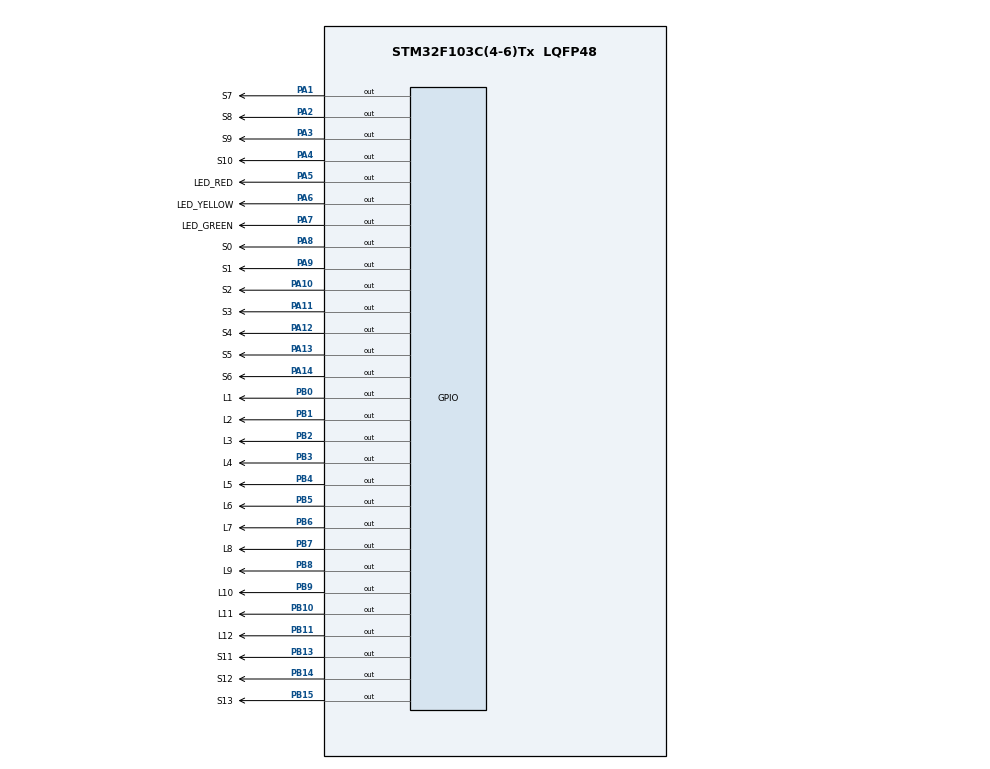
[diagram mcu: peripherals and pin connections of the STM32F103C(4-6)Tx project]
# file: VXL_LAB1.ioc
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Mcu.Family=STM32F1
Mcu.Name=STM32F103C(4-6)Tx
Mcu.Package=LQFP48
NVIC.PriorityGroup=NVIC_PRIORITYGROUP_4
PA1.GPIO_Label=S7
PA1.Signal=GPIO_Output
PA10.GPIO_Label=S2
PA10.Signal=GPIO_Output
PA11.GPIO_Label=S3
PA11.Signal=GPIO_Output
PA12.GPIO_Label=S4
PA12.Signal=GPIO_Output
PA13.GPIO_Label=S5
PA13.Signal=GPIO_Output
PA14.GPIO_Label=S6
PA14.Signal=GPIO_Output
PA2.GPIO_Label=S8
PA2.Signal=GPIO_Output
PA3.GPIO_Label=S9
PA3.Signal=GPIO_Output
PA4.GPIO_Label=S10
PA4.Signal=GPIO_Output
PA5.GPIO_Label=LED_RED
PA5.Signal=GPIO_Output
PA6.GPIO_Label=LED_YELLOW
PA6.Signal=GPIO_Output
PA7.GPIO_Label=LED_GREEN
PA7.Signal=GPIO_Output
PA8.GPIO_Label=S0
PA8.Signal=GPIO_Output
PA9.GPIO_Label=S1
PA9.Signal=GPIO_Output
PB0.GPIO_Label=L1
PB0.Signal=GPIO_Output
PB1.GPIO_Label=L2
PB1.Signal=GPIO_Output
PB10.GPIO_Label=L11
PB10.Signal=GPIO_Output
PB11.GPIO_Label=L12
PB11.Signal=GPIO_Output
PB13.GPIO_Label=S11
PB13.Signal=GPIO_Output
PB14.GPIO_Label=S12
PB14.Signal=GPIO_Output
PB15.GPIO_Label=S13
PB15.Signal=GPIO_Output
PB2.GPIO_Label=L3
PB2.Signal=GPIO_Output
PB3.GPIO_Label=L4
PB3.Signal=GPIO_Output
PB4.GPIO_Label=L5
PB4.Signal=GPIO_Output
PB5.GPIO_Label=L6
PB5.Signal=GPIO_Output
PB6.GPIO_Label=L7
PB6.Signal=GPIO_Output
PB7.GPIO_Label=L8
PB7.Signal=GPIO_Output
PB8.GPIO_Label=L9
PB8.Signal=GPIO_Output
PB9.GPIO_Label=L10
PB9.Signal=GPIO_Output
ProjectManager.HeapSize=0x200
ProjectManager.StackSize=0x400
ProjectManager.TargetToolchain=STM32CubeIDE
RCC.APB1Freq_Value=8000000
RCC.APB2Freq_Value=8000000
VP_SYS_VS_ND.Mode=No_Debug
board=custom

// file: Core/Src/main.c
/* USER CODE BEGIN Header */
/**
  ******************************************************************************
  * @file           : main.c
  * @brief          : Main program body
  ******************************************************************************
  * @attention
  *
  * <h2><center>&copy; Copyright (c) 2024 STMicroelectronics.
  * All rights reserved.</center></h2>
  *
  * This software component is licensed by ST under BSD 3-Clause license,
  * the "License"; You may not use this file except in compliance with the
  * License. You may obtain a copy of the License at:
  *                        opensource.org/licenses/BSD-3-Clause
  *
  ******************************************************************************
  */
/* USER CODE END Header */
#include "main.h"

void SystemClock_Config(void);
static void MX_GPIO_Init(void);

/* USER CODE BEGIN 0 */
void  display7SEG(int num){
	int SMap[10] = {
	        0b00111111, // 0
	        0b00000110, // 1
	        0b01011011, // 2
	        0b01001111, // 3
	        0b01100110, // 4
	        0b01101101, // 5
	        0b01111101, // 6
	        0b00000111, // 7
	        0b01111111, // 8
	        0b01101111  // 9
	    };
	    if (num < 0 || num > 9) {
	        return;
	    }
	    int segments = SMap[num];
	    HAL_GPIO_WritePin(S0_GPIO_Port, S0_Pin, (segments & 0b00000001) ? GPIO_PIN_RESET : GPIO_PIN_SET);
	    HAL_GPIO_WritePin(S1_GPIO_Port, S1_Pin, (segments & 0b00000010) ? GPIO_PIN_RESET : GPIO_PIN_SET);
	    HAL_GPIO_WritePin(S2_GPIO_Port, S2_Pin, (segments & 0b00000100) ? GPIO_PIN_RESET : GPIO_PIN_SET);
	    HAL_GPIO_WritePin(S3_GPIO_Port, S3_Pin, (segments & 0b00001000) ? GPIO_PIN_RESET : GPIO_PIN_SET);
	    HAL_GPIO_WritePin(S4_GPIO_Port, S4_Pin, (segments & 0b00010000) ? GPIO_PIN_RESET : GPIO_PIN_SET);
	    HAL_GPIO_WritePin(S5_GPIO_Port, S5_Pin, (segments & 0b00100000) ? GPIO_PIN_RESET : GPIO_PIN_SET);
	    HAL_GPIO_WritePin(S6_GPIO_Port, S6_Pin, (segments & 0b01000000) ? GPIO_PIN_RESET : GPIO_PIN_SET);
	}
void  display7SEG1(int num1){
	int SMap[10] = {
	        0b00111111, // 0
	        0b00000110, // 1
	        0b01011011, // 2
	        0b01001111, // 3
	        0b01100110, // 4
	        0b01101101, // 5
	        0b01111101, // 6
	        0b00000111, // 7
	        0b01111111, // 8
	        0b01101111  // 9
	    };
	    if (num1 < 0 || num1 > 9) {
	        return;
	    }
	    int segments = SMap[num1];
	    HAL_GPIO_WritePin(S7_GPIO_Port, S7_Pin, (segments & 0b00000001) ? GPIO_PIN_RESET : GPIO_PIN_SET);
	    HAL_GPIO_WritePin(S8_GPIO_Port, S8_Pin, (segments & 0b00000010) ? GPIO_PIN_RESET : GPIO_PIN_SET);
	    HAL_GPIO_WritePin(S9_GPIO_Port, S9_Pin, (segments & 0b00000100) ? GPIO_PIN_RESET : GPIO_PIN_SET);
	    HAL_GPIO_WritePin(S10_GPIO_Port, S10_Pin, (segments & 0b00001000) ? GPIO_PIN_RESET : GPIO_PIN_SET);
	    HAL_GPIO_WritePin(S11_GPIO_Port, S11_Pin, (segments & 0b00010000) ? GPIO_PIN_RESET : GPIO_PIN_SET);
	    HAL_GPIO_WritePin(S12_GPIO_Port, S12_Pin, (segments & 0b00100000) ? GPIO_PIN_RESET : GPIO_PIN_SET);
	    HAL_GPIO_WritePin(S13_GPIO_Port, S13_Pin, (segments & 0b01000000) ? GPIO_PIN_RESET : GPIO_PIN_SET);
	}
void clearAllClock(){
	HAL_GPIO_WritePin(L1_GPIO_Port, L1_Pin, GPIO_PIN_RESET);
	HAL_GPIO_WritePin(L2_GPIO_Port, L2_Pin, GPIO_PIN_RESET);
	HAL_GPIO_WritePin(L3_GPIO_Port, L3_Pin, GPIO_PIN_RESET);
	HAL_GPIO_WritePin(L4_GPIO_Port, L4_Pin, GPIO_PIN_RESET);
	HAL_GPIO_WritePin(L5_GPIO_Port, L5_Pin, GPIO_PIN_RESET);
	HAL_GPIO_WritePin(L6_GPIO_Port, L6_Pin, GPIO_PIN_RESET);
	HAL_GPIO_WritePin(L7_GPIO_Port, L7_Pin, GPIO_PIN_RESET);
	HAL_GPIO_WritePin(L8_GPIO_Port, L8_Pin, GPIO_PIN_RESET);
	HAL_GPIO_WritePin(L9_GPIO_Port, L9_Pin, GPIO_PIN_RESET);
	HAL_GPIO_WritePin(L10_GPIO_Port, L10_Pin, GPIO_PIN_RESET);
	HAL_GPIO_WritePin(L11_GPIO_Port, L11_Pin, GPIO_PIN_RESET);
	HAL_GPIO_WritePin(L12_GPIO_Port, L12_Pin, GPIO_PIN_RESET);
    }
void  setNumberOnClock(int num){
	switch (num){
	case 0:
		HAL_GPIO_WritePin(L12_GPIO_Port, L12_Pin, GPIO_PIN_SET);
		break;
	case 1:
		HAL_GPIO_WritePin(L1_GPIO_Port, L1_Pin, GPIO_PIN_SET);
		break;
	case 2:
		HAL_GPIO_WritePin(L2_GPIO_Port, L2_Pin, GPIO_PIN_SET);
				break;
	case 3:
		HAL_GPIO_WritePin(L3_GPIO_Port, L3_Pin, GPIO_PIN_SET);
				break;
	case 4:
		HAL_GPIO_WritePin(L4_GPIO_Port, L4_Pin, GPIO_PIN_SET);
				break;
	case 5:
		HAL_GPIO_WritePin(L5_GPIO_Port, L5_Pin, GPIO_PIN_SET);
				break;
	case 6:
		HAL_GPIO_WritePin(L6_GPIO_Port, L6_Pin, GPIO_PIN_SET);
				break;
	case 7:
		HAL_GPIO_WritePin(L7_GPIO_Port, L7_Pin, GPIO_PIN_SET);
				break;
	case 8:
		HAL_GPIO_WritePin(L8_GPIO_Port, L8_Pin, GPIO_PIN_SET);
				break;
	case 9:
		HAL_GPIO_WritePin(L9_GPIO_Port, L9_Pin, GPIO_PIN_SET);
				break;
	case 10:
		HAL_GPIO_WritePin(L10_GPIO_Port, L10_Pin, GPIO_PIN_SET);
				break;
	case 11:
		HAL_GPIO_WritePin(L11_GPIO_Port, L11_Pin, GPIO_PIN_SET);
				break;
	}
}
void clearNumberOnClock(int num){
	switch (num){
		case 0:
			HAL_GPIO_WritePin(L12_GPIO_Port, L12_Pin, GPIO_PIN_RESET);
			break;
		case 1:
			HAL_GPIO_WritePin(L1_GPIO_Port, L1_Pin, GPIO_PIN_RESET);
					break;
		case 2:
			HAL_GPIO_WritePin(L2_GPIO_Port, L2_Pin, GPIO_PIN_RESET);
					break;
		case 3:
			HAL_GPIO_WritePin(L3_GPIO_Port, L3_Pin, GPIO_PIN_RESET);
					break;
		case 4:
			HAL_GPIO_WritePin(L4_GPIO_Port, L4_Pin, GPIO_PIN_RESET);
					break;
		case 5:
			HAL_GPIO_WritePin(L5_GPIO_Port, L5_Pin, GPIO_PIN_RESET);
					break;
		case 6:
			HAL_GPIO_WritePin(L6_GPIO_Port, L6_Pin, GPIO_PIN_RESET);
					break;
		case 7:
			HAL_GPIO_WritePin(L7_GPIO_Port, L7_Pin, GPIO_PIN_RESET);
					break;
		case 8:
			HAL_GPIO_WritePin(L8_GPIO_Port, L8_Pin, GPIO_PIN_RESET);
					break;
		case 9:
			HAL_GPIO_WritePin(L9_GPIO_Port, L9_Pin, GPIO_PIN_RESET);
					break;
		case 10:
			HAL_GPIO_WritePin(L10_GPIO_Port, L10_Pin, GPIO_PIN_RESET);
					break;
		case 11:
			HAL_GPIO_WritePin(L11_GPIO_Port, L11_Pin, GPIO_PIN_RESET);
					break;
        }
}
/* USER CODE END 0 */

int main(void)
{

  /* MCU Configuration--------------------------------------------------------*/

  /* Reset of all peripherals, Initializes the Flash interface and the Systick. */
  HAL_Init();

  /* Configure the system clock */
  SystemClock_Config();

  /* Initialize all configured peripherals */
  MX_GPIO_Init();

  /* Infinite loop */
  /* USER CODE BEGIN WHILE */

  //int state = 0;
  //int lastTime = HAL_GetTick();
  //int cnt = 0;

     int hour = 0;
     int min = 0;
     int sec = 0;
     while (1)
      {
      sec++;
      if(hour > 0){
    	  clearNumberOnClock(hour-1);
      }
      if(min/5 > 0){
    	  if(hour != min/5 -1){
    	      clearNumberOnClock(min/5-1);
    	  }
      }
      if(sec/5 > 0){
    	  if(hour != sec/5 -1 || min/5 != sec/5-1){
    	      clearNumberOnClock(sec/5-1);
    	  }
      }
      if(sec >= 60){
        sec = 0;
        min++;
      }
      if(min >= 60){
        min = 0;
        hour++;
      }
      if(hour >= 12) hour = 0;
      setNumberOnClock(hour);
      setNumberOnClock(min/5);
      setNumberOnClock(sec/5);
      HAL_Delay(50);
    /* USER CODE END WHILE */

  }
}

void SystemClock_Config(void)
{
  RCC_OscInitTypeDef RCC_OscInitStruct = {0};
  RCC_ClkInitTypeDef RCC_ClkInitStruct = {0};

  /** Initializes the RCC Oscillators according to the specified parameters
  * in the RCC_OscInitTypeDef structure.
  */
  RCC_OscInitStruct.OscillatorType = RCC_OSCILLATORTYPE_HSI;
  RCC_OscInitStruct.HSIState = RCC_HSI_ON;
  RCC_OscInitStruct.HSICalibrationValue = RCC_HSICALIBRATION_DEFAULT;
  RCC_OscInitStruct.PLL.PLLState = RCC_PLL_NONE;
  if (HAL_RCC_OscConfig(&RCC_OscInitStruct) != HAL_OK)
  {
    Error_Handler();
  }
  /** Initializes the CPU, AHB and APB buses clocks
  */
  RCC_ClkInitStruct.ClockType = RCC_CLOCKTYPE_HCLK|RCC_CLOCKTYPE_SYSCLK
                              |RCC_CLOCKTYPE_PCLK1|RCC_CLOCKTYPE_PCLK2;
  RCC_ClkInitStruct.SYSCLKSource = RCC_SYSCLKSOURCE_HSI;
  RCC_ClkInitStruct.AHBCLKDivider = RCC_SYSCLK_DIV1;
  RCC_ClkInitStruct.APB1CLKDivider = RCC_HCLK_DIV1;
  RCC_ClkInitStruct.APB2CLKDivider = RCC_HCLK_DIV1;

  if (HAL_RCC_ClockConfig(&RCC_ClkInitStruct, FLASH_LATENCY_0) != HAL_OK)
  {
    Error_Handler();
  }
}

static void MX_GPIO_Init(void)
{
  GPIO_InitTypeDef GPIO_InitStruct = {0};

  /* GPIO Ports Clock Enable */
  __HAL_RCC_GPIOA_CLK_ENABLE();
  __HAL_RCC_GPIOB_CLK_ENABLE();

  /*Configure GPIO pin Output Level */
  HAL_GPIO_WritePin(GPIOA, LED_RED_Pin|LED_YELLOW_Pin|LED_GREEN_Pin|S0_Pin
                          |S1_Pin|S2_Pin|S3_Pin|S4_Pin
                          |S5_Pin|S6_Pin, GPIO_PIN_RESET);

  /*Configure GPIO pin Output Level */
  HAL_GPIO_WritePin(GPIOB, L1_Pin|L2_Pin|L3_Pin|L11_Pin
                          |L12_Pin|L4_Pin|L5_Pin|L6_Pin
                          |L7_Pin|L8_Pin|L9_Pin|L10_Pin, GPIO_PIN_RESET);

  /*Configure GPIO pins : LED_RED_Pin LED_YELLOW_Pin LED_GREEN_Pin S0_Pin
                           S1_Pin S2_Pin S3_Pin S4_Pin
                           S5_Pin S6_Pin */
  GPIO_InitStruct.Pin = LED_RED_Pin|LED_YELLOW_Pin|LED_GREEN_Pin|S0_Pin
                          |S1_Pin|S2_Pin|S3_Pin|S4_Pin
                          |S5_Pin|S6_Pin;
  GPIO_InitStruct.Mode = GPIO_MODE_OUTPUT_PP;
  GPIO_InitStruct.Pull = GPIO_NOPULL;
  GPIO_InitStruct.Speed = GPIO_SPEED_FREQ_LOW;
  HAL_GPIO_Init(GPIOA, &GPIO_InitStruct);

  /*Configure GPIO pins : L1_Pin L2_Pin L3_Pin L11_Pin
                           L12_Pin L4_Pin L5_Pin L6_Pin
                           L7_Pin L8_Pin L9_Pin L10_Pin */
  GPIO_InitStruct.Pin = L1_Pin|L2_Pin|L3_Pin|L11_Pin
                          |L12_Pin|L4_Pin|L5_Pin|L6_Pin
                          |L7_Pin|L8_Pin|L9_Pin|L10_Pin;
  GPIO_InitStruct.Mode = GPIO_MODE_OUTPUT_PP;
  GPIO_InitStruct.Pull = GPIO_NOPULL;
  GPIO_InitStruct.Speed = GPIO_SPEED_FREQ_LOW;
  HAL_GPIO_Init(GPIOB, &GPIO_InitStruct);

}

void Error_Handler(void)
{
  __disable_irq();
  while (1)
  {
  }
}

/************************ (C) COPYRIGHT STMicroelectronics *****END OF FILE****/
